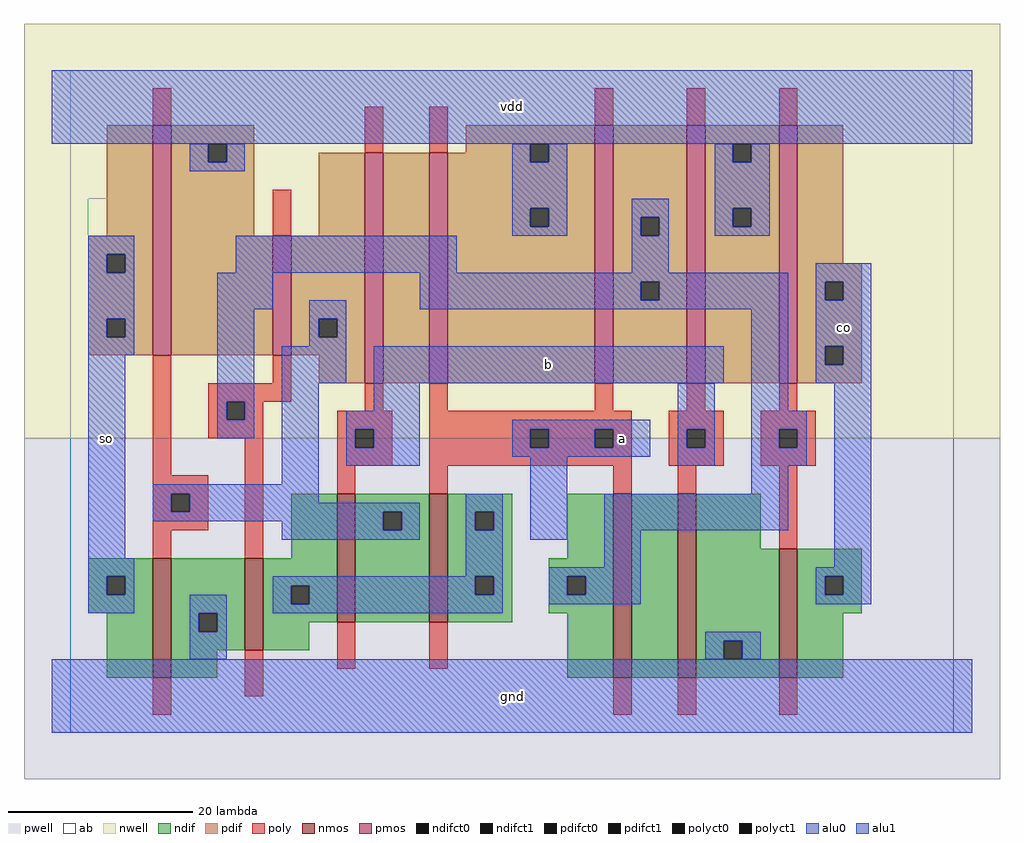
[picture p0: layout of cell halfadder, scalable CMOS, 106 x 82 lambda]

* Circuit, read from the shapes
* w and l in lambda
.subckt halfadder a b co gnd so vdd
M1 gnd n1 so VSUBS nfet w=13 l=2
M2 n2 n3 gnd VSUBS nfet w=10 l=2
M3 n1 b n2 VSUBS nfet w=14 l=2
M4 n2 a n1 VSUBS nfet w=14 l=2
M5 n4 a n3 VSUBS nfet w=20 l=2
M6 gnd b n4 VSUBS nfet w=20 l=2
M7 co n3 gnd VSUBS nfet w=14 l=2
M8 vdd n1 so n5 pfet w=25 l=2
M9 n1 n3 vdd n5 pfet w=13 l=2
M10 n6 b n1 n5 pfet w=25 l=2
M11 vdd a n6 n5 pfet w=25 l=2
M12 n3 a vdd n5 pfet w=28 l=2
M13 vdd b n3 n5 pfet w=28 l=2
M14 co n3 vdd n5 pfet w=28 l=2
.ends

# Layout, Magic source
magic
tech scmos
<< ab >>
rect 0 53 96 67
rect 0 49 2 53
rect 4 49 96 53
rect 0 -5 96 49
<< nwell >>
rect -5 27 101 72
<< pwell >>
rect -5 -10 101 27
<< poly >>
rect 9 61 11 65
rect 32 58 34 63
rect 39 58 41 63
rect 57 61 59 65
rect 67 61 69 65
rect 77 61 79 65
rect 22 49 24 54
rect 9 23 11 36
rect 22 33 24 36
rect 15 31 24 33
rect 15 29 17 31
rect 19 29 21 31
rect 32 30 34 33
rect 39 30 41 33
rect 57 30 59 33
rect 67 30 69 33
rect 77 30 79 33
rect 15 27 21 29
rect 9 21 15 23
rect 9 19 11 21
rect 13 19 15 21
rect 9 17 15 19
rect 9 14 11 17
rect 19 14 21 27
rect 29 28 35 30
rect 29 26 31 28
rect 33 26 35 28
rect 29 24 35 26
rect 39 28 61 30
rect 39 26 50 28
rect 52 26 57 28
rect 59 26 61 28
rect 39 24 61 26
rect 65 28 71 30
rect 65 26 67 28
rect 69 26 71 28
rect 65 24 71 26
rect 75 28 81 30
rect 75 26 77 28
rect 79 26 81 28
rect 75 24 81 26
rect 29 21 31 24
rect 39 21 41 24
rect 59 21 61 24
rect 66 21 68 24
rect 9 -3 11 1
rect 19 -1 21 4
rect 29 2 31 7
rect 39 2 41 7
rect 77 15 79 24
rect 59 -3 61 1
rect 66 -3 68 1
rect 77 -3 79 1
<< ndif >>
rect 24 14 29 21
rect 2 12 9 14
rect 2 10 4 12
rect 6 10 9 12
rect 2 8 9 10
rect 4 1 9 8
rect 11 8 19 14
rect 11 6 14 8
rect 16 6 19 8
rect 11 4 19 6
rect 21 11 29 14
rect 21 9 24 11
rect 26 9 29 11
rect 21 7 29 9
rect 31 19 39 21
rect 31 17 34 19
rect 36 17 39 19
rect 31 7 39 17
rect 41 19 48 21
rect 41 17 44 19
rect 46 17 48 19
rect 41 12 48 17
rect 54 14 59 21
rect 41 10 44 12
rect 46 10 48 12
rect 41 7 48 10
rect 52 12 59 14
rect 52 10 54 12
rect 56 10 59 12
rect 52 8 59 10
rect 21 4 26 7
rect 11 1 16 4
rect 54 1 59 8
rect 61 1 66 21
rect 68 15 75 21
rect 68 5 77 15
rect 68 3 71 5
rect 73 3 77 5
rect 68 1 77 3
rect 79 12 86 15
rect 79 10 82 12
rect 84 10 86 12
rect 79 8 86 10
rect 79 1 84 8
<< pdif >>
rect 4 49 9 61
rect 2 47 9 49
rect 2 45 4 47
rect 6 45 9 47
rect 2 40 9 45
rect 2 38 4 40
rect 6 38 9 40
rect 2 36 9 38
rect 11 59 20 61
rect 11 57 15 59
rect 17 57 20 59
rect 43 59 57 61
rect 43 58 50 59
rect 11 49 20 57
rect 27 49 32 58
rect 11 36 22 49
rect 24 40 32 49
rect 24 38 27 40
rect 29 38 32 40
rect 24 36 32 38
rect 27 33 32 36
rect 34 33 39 58
rect 41 57 50 58
rect 52 57 57 59
rect 41 52 57 57
rect 41 50 50 52
rect 52 50 57 52
rect 41 33 57 50
rect 59 51 67 61
rect 59 49 62 51
rect 64 49 67 51
rect 59 44 67 49
rect 59 42 62 44
rect 64 42 67 44
rect 59 33 67 42
rect 69 59 77 61
rect 69 57 72 59
rect 74 57 77 59
rect 69 52 77 57
rect 69 50 72 52
rect 74 50 77 52
rect 69 33 77 50
rect 79 46 84 61
rect 79 44 86 46
rect 79 42 82 44
rect 84 42 86 44
rect 79 37 86 42
rect 79 35 82 37
rect 84 35 86 37
rect 79 33 86 35
<< alu1 >>
rect -2 59 98 67
rect 2 47 7 49
rect 2 45 4 47
rect 6 45 7 47
rect 2 40 7 45
rect 2 38 4 40
rect 6 38 7 40
rect 2 36 7 38
rect 2 14 6 36
rect 33 33 71 37
rect 33 30 38 33
rect 30 28 38 30
rect 30 26 31 28
rect 33 26 38 28
rect 30 24 38 26
rect 48 28 63 29
rect 48 26 50 28
rect 52 26 57 28
rect 59 26 63 28
rect 48 25 63 26
rect 2 12 7 14
rect 50 16 54 25
rect 81 44 87 46
rect 81 42 82 44
rect 84 42 87 44
rect 81 37 87 42
rect 81 35 82 37
rect 84 35 87 37
rect 81 33 87 35
rect 83 13 87 33
rect 2 10 4 12
rect 6 10 7 12
rect 2 8 7 10
rect 81 12 87 13
rect 81 10 82 12
rect 84 10 87 12
rect 81 9 87 10
rect -2 -5 98 3
<< nmos >>
rect 9 1 11 14
rect 19 4 21 14
rect 29 7 31 21
rect 39 7 41 21
rect 59 1 61 21
rect 66 1 68 21
rect 77 1 79 15
<< pmos >>
rect 9 36 11 61
rect 22 36 24 49
rect 32 33 34 58
rect 39 33 41 58
rect 57 33 59 61
rect 67 33 69 61
rect 77 33 79 61
<< polyct0 >>
rect 17 29 19 31
rect 11 19 13 21
rect 67 26 69 28
rect 77 26 79 28
<< polyct1 >>
rect 31 26 33 28
rect 50 26 52 28
rect 57 26 59 28
<< ndifct0 >>
rect 14 6 16 8
rect 24 9 26 11
rect 34 17 36 19
rect 44 17 46 19
rect 44 10 46 12
rect 54 10 56 12
rect 71 3 73 5
<< ndifct1 >>
rect 4 10 6 12
rect 82 10 84 12
<< pdifct0 >>
rect 15 57 17 59
rect 27 38 29 40
rect 50 57 52 59
rect 50 50 52 52
rect 62 49 64 51
rect 62 42 64 44
rect 72 57 74 59
rect 72 50 74 52
<< pdifct1 >>
rect 4 45 6 47
rect 4 38 6 40
rect 82 42 84 44
rect 82 35 84 37
<< alu0 >>
rect 13 57 15 59
rect 17 57 19 59
rect 13 56 19 57
rect 48 57 50 59
rect 52 57 54 59
rect 48 52 54 57
rect 70 57 72 59
rect 74 57 76 59
rect 48 50 50 52
rect 52 50 54 52
rect 48 49 54 50
rect 61 51 65 53
rect 61 49 62 51
rect 64 49 65 51
rect 70 52 76 57
rect 70 50 72 52
rect 74 50 76 52
rect 70 49 76 50
rect 18 45 42 49
rect 61 45 65 49
rect 16 41 22 45
rect 38 44 78 45
rect 38 42 62 44
rect 64 42 78 44
rect 16 31 20 41
rect 26 40 30 42
rect 38 41 78 42
rect 26 38 27 40
rect 29 38 30 40
rect 26 37 30 38
rect 16 29 17 31
rect 19 29 20 31
rect 16 27 20 29
rect 23 33 30 37
rect 23 22 27 33
rect 66 28 70 33
rect 66 26 67 28
rect 69 26 70 28
rect 9 21 27 22
rect 9 19 11 21
rect 13 20 27 21
rect 13 19 38 20
rect 9 18 34 19
rect 23 17 34 18
rect 36 17 38 19
rect 23 16 38 17
rect 43 19 47 21
rect 43 17 44 19
rect 46 17 47 19
rect 43 12 47 17
rect 66 24 70 26
rect 74 30 78 41
rect 74 28 80 30
rect 74 26 77 28
rect 79 26 80 28
rect 74 24 80 26
rect 74 21 78 24
rect 58 17 78 21
rect 58 13 62 17
rect 22 11 44 12
rect 13 8 17 10
rect 22 9 24 11
rect 26 10 44 11
rect 46 10 47 12
rect 26 9 47 10
rect 52 12 62 13
rect 52 10 54 12
rect 56 10 62 12
rect 52 9 62 10
rect 22 8 47 9
rect 13 6 14 8
rect 16 6 17 8
rect 13 3 17 6
rect 69 5 75 6
rect 69 3 71 5
rect 73 3 75 5
<< labels >>
rlabel alu1 4 27 4 27 6 so
rlabel alu1 48 63 48 63 6 vdd
rlabel alu1 84 39 84 39 6 co
rlabel alu1 48 -1 48 -1 1 gnd
rlabel alu1 60 27 60 27 6 a
rlabel alu1 52 35 52 35 1 b
<< end >>
